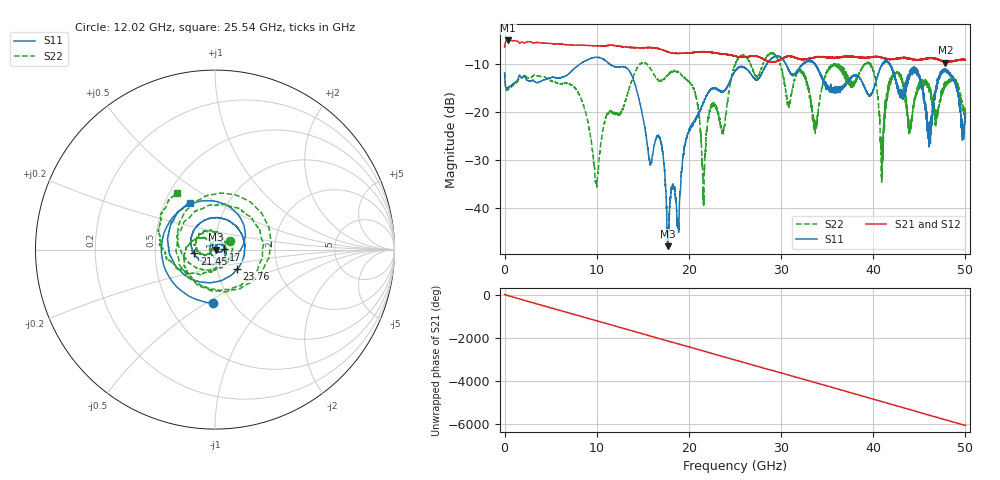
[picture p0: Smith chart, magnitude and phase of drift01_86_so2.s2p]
!Created with skrf (http://scikit-rf.org).
# Hz S RI R 50.0
!freq ReS11 ImS11 ReS21 ImS21 ReS12 ImS12 ReS22 ImS22
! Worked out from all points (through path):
!   10001 points, 300 kHz to 50 GHz, reference 50 ohm
!   highest |S21| = -5.05 dB at 395.3 MHz (marker M1); lowest = -9.6 dB at 47.84 GHz (marker M2)
!   group delay of S21, straight-line fit = 336 ps
!   lowest |S11| = -47.8 dB at 17.7 GHz (marker M3), VSWR 1.01, Z = 50.4 - j0.0704 ohm
!   |S11| at or under -10 dB: start of sweep to 8.162 GHz; 11.43 GHz to 28.42 GHz (16.99 GHz wide, 85.3 % of centre); 41.82 GHz to end of sweep (the widest 3 of 11)
!   |S22| runs from -39.3 to -7.6 dB; largest |S21 - S12| = 0.015
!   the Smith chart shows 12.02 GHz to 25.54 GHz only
!   S11 on the Smith chart (normalised r, x): 12.02 GHz: 0.82, -0.53; 17 GHz: 1.10, +0.00; 21.45 GHz: 0.79, -0.03; 23.76 GHz: 1.24, -0.28; 25.54 GHz: 0.66, +0.38
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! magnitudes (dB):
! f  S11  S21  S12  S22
! 300 kHz  -11.8  -6.4  -6.5  -11.8
! 395.3 MHz  -14.8  -5.1  -5.1  -15.2
! 8.335 GHz  -9.8  -6.0  -6.0  -17.5
! 9.945 GHz  -8.6  -6.2  -6.2  -34.6
! 12.02 GHz  -10.5  -6.1  -6.1  -20.5
! 16.67 GHz  -24.8  -6.7  -6.7  -13.3
! 17 GHz  -26.3  -6.9  -6.9  -13.5
! 17.7 GHz  -47.8  -7.4  -7.4  -12.3
! 20.48 GHz  -22.4  -7.5  -7.5  -14.9
! 21.45 GHz  -18.7  -7.4  -7.4  -30.5
! 22.47 GHz  -15.1  -7.5  -7.6  -18.9
! 23.76 GHz  -15.7  -7.9  -7.9  -24.1
! 25 GHz  -11.4  -8.3  -8.3  -10.2
! 25.54 GHz  -10.5  -8.5  -8.5  -8.4
! 33.34 GHz  -9.4  -8.7  -8.7  -19.4
! 39.49 GHz  -16.4  -8.6  -8.5  -9.8
! 40.97 GHz  -10.1  -8.6  -8.6  -29.2
! 41.67 GHz  -9.6  -8.8  -9.0  -14.7
! 44.76 GHz  -11.6  -9.1  -9.0  -15.4
! 46.1 GHz  -25.1  -8.8  -8.7  -15.0
! 47.84 GHz  -11.4  -9.6  -9.5  -14.4
! 50 GHz  -21.2  -9.1  -9.0  -20.3
